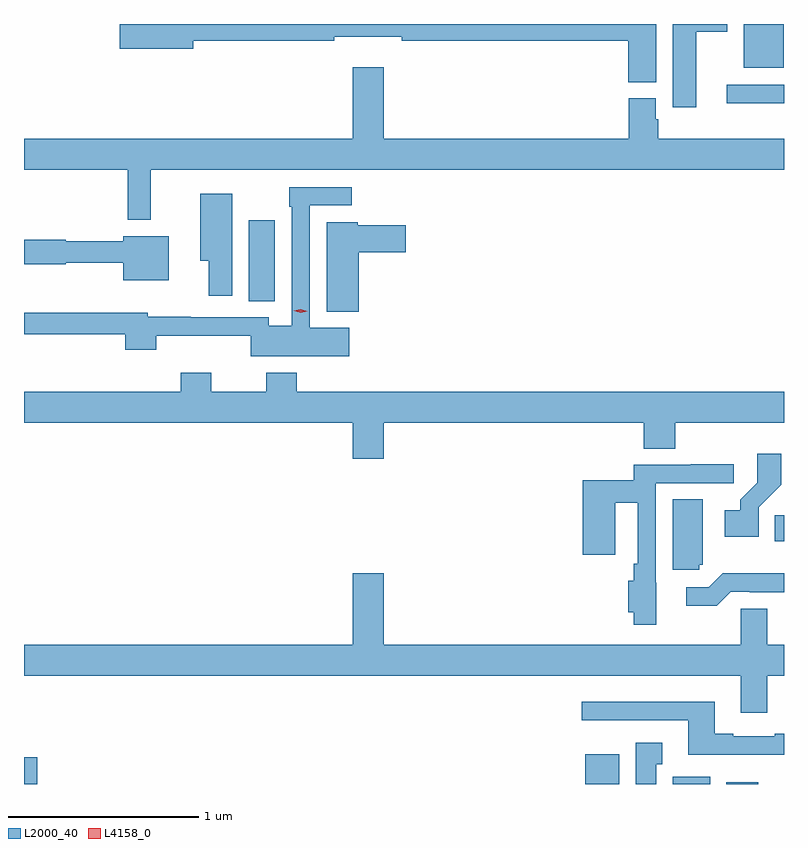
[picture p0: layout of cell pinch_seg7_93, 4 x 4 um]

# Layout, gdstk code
import gdstk
lib = gdstk.Library(unit=1e-6, precision=1e-09)
def R(c, l, rs):  # rectangles x0, y0, x1, y1
    for r in rs: c.add(gdstk.rectangle(r[:2], r[2:], *l))
def P(c, l, *ps):  # polygons
    for p in ps: c.add(gdstk.Polygon(p, *l))
L2000_40 = (2000, 40)
L4158_0 = (4158, 0)

pinch_seg7_93 = lib.new_cell('pinch_seg7_93')
R(pinch_seg7_93, L2000_40, [(954.487,1001.379,954.557,1001.521), (957.44,1001.379,957.619,1001.536), (957.902,1001.379,958.099,1001.416), (958.184,1001.379,958.351,1001.389), (958.438,1002.656,958.487,1002.794), (955.67,1003.921,955.807,1004.347), (958.185,1004.963,958.487,1005.06), (958.274,1005.149,958.486,1005.379)])
P(pinch_seg7_93, L2000_40, [(957.814,1005.379),(954.99,1005.379),(954.99,1005.25),(955.378,1005.25),(955.378,1005.292),(956.12,1005.292),(956.12,1005.311),(956.476,1005.311),(956.476,1005.292),(957.668,1005.292),(957.668,1005.073),(957.814,1005.073)],
  [(958.024,1005.338),(958.189,1005.338),(958.189,1005.379),(957.902,1005.379),(957.902,1004.94),(958.024,1004.94)],
  [(954.487,1004.612),(955.033,1004.612),(955.033,1004.349),(955.154,1004.349),(955.154,1004.612),(958.487,1004.612),(958.487,1004.776),(957.824,1004.776),(957.824,1004.877),(957.811,1004.877),(957.811,1004.988),(957.671,1004.988),(957.671,1004.776),(956.38,1004.776),(956.38,1005.151),(956.216,1005.151),(956.216,1004.776),(954.487,1004.776)],
  [(956.2,1003.78),(955.992,1003.78),(955.992,1004.424),(956.212,1004.424),(956.212,1004.52),(955.884,1004.52),(955.884,1004.417),(955.896,1004.417),(955.896,1003.792),(955.776,1003.792),(955.776,1003.836),(955.364,1003.836),(955.364,1003.838),(955.137,1003.838),(955.137,1003.859),(954.487,1003.859),(954.487,1003.746),(955.019,1003.746),(955.019,1003.664),(955.184,1003.664),(955.184,1003.739),(955.68,1003.739),(955.68,1003.631),(956.2,1003.631)],
  [(955.582,1004.485),(955.415,1004.485),(955.415,1004.132),(955.46,1004.132),(955.46,1003.95),(955.582,1003.95)],
  [(956.248,1004.177),(956.497,1004.177),(956.497,1004.319),(956.244,1004.319),(956.244,1004.335),(956.081,1004.335),(956.081,1003.865),(956.248,1003.865)],
  [(955.249,1004.263),(955.01,1004.263),(955.01,1004.236),(954.708,1004.236),(954.708,1004.244),(954.487,1004.244),(954.487,1004.114),(954.708,1004.114),(954.708,1004.122),(955.01,1004.122),(955.01,1004.03),(955.249,1004.03)],
  [(956.38,1003.28),(957.749,1003.28),(957.749,1003.144),(957.914,1003.144),(957.914,1003.28),(958.487,1003.28),(958.487,1003.444),(955.922,1003.444),(955.922,1003.543),(955.762,1003.543),(955.762,1003.444),(955.473,1003.444),(955.473,1003.543),(955.313,1003.543),(955.313,1003.444),(954.487,1003.444),(954.487,1003.28),(956.216,1003.28),(956.216,1003.092),(956.38,1003.092)],
  [(958.353,1002.835),(958.472,1002.954),(958.472,1003.117),(958.347,1003.117),(958.347,1002.965),(958.256,1002.875),(958.256,1002.82),(958.176,1002.82),(958.176,1002.68),(958.353,1002.68)],
  [(957.814,1002.438),(957.813,1002.438),(957.813,1002.963),(958.222,1002.963),(958.222,1003.062),(957.997,1003.062),(957.997,1003.059),(957.697,1003.059),(957.697,1002.979),(957.428,1002.979),(957.428,1002.585),(957.598,1002.585),(957.598,1002.858),(957.717,1002.858),(957.717,1002.538),(957.697,1002.538),(957.697,1002.45),(957.668,1002.45),(957.668,1002.284),(957.697,1002.284),(957.697,1002.216),(957.814,1002.216)],
  [(958.041,1002.534),(958.06,1002.534),(958.06,1002.878),(957.902,1002.878),(957.902,1002.507),(958.041,1002.507)],
  [(958.399,1001.948),(958.487,1001.948),(958.487,1002.112),(958.399,1002.112),(958.399,1002.302),(958.26,1002.302),(958.26,1002.112),(956.38,1002.112),(956.38,1002.487),(956.216,1002.487),(956.216,1002.112),(954.487,1002.112),(954.487,1001.948),(958.259,1001.948),(958.259,1001.754),(958.399,1001.754)],
  [(958.206,1002.39),(958.306,1002.39),(958.306,1002.387),(958.487,1002.387),(958.487,1002.487),(958.165,1002.487),(958.092,1002.414),(957.972,1002.414),(957.972,1002.317),(958.133,1002.317)],
  [(958.487,1001.644),(958.439,1001.644),(958.439,1001.631),(958.219,1001.631),(958.219,1001.644),(958.123,1001.644),(958.123,1001.812),(957.423,1001.812),(957.423,1001.715),(957.983,1001.715),(957.983,1001.534),(958.487,1001.534)],
  [(957.814,1001.483),(957.847,1001.483),(957.847,1001.596),(957.707,1001.596),(957.707,1001.379),(957.814,1001.379)])
P(pinch_seg7_93, L4158_0, [(955.943,1003.858),(955.908,1003.869),(955.908,1003.869),(955.908,1003.869),(955.943,1003.878),(955.978,1003.868),(955.978,1003.868),(955.978,1003.868)])

lib.write_gds('pinch_seg7_93.gds')
